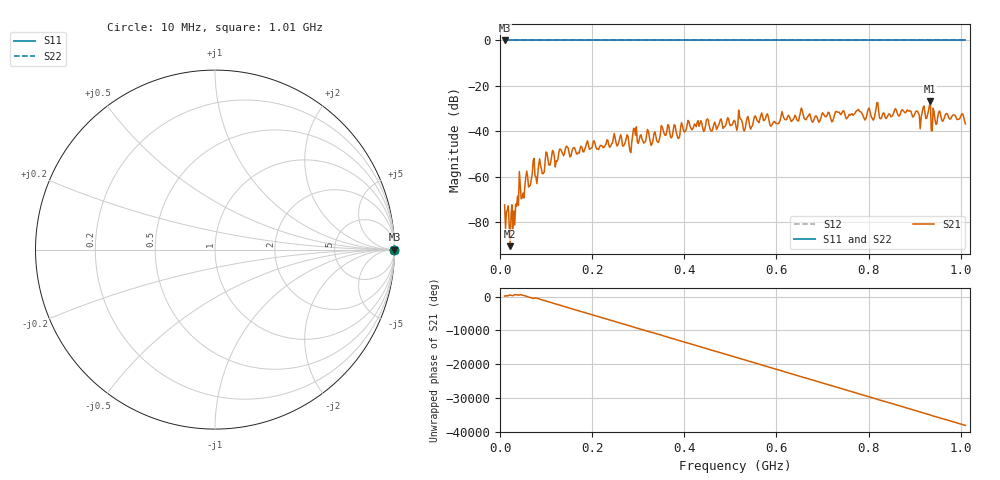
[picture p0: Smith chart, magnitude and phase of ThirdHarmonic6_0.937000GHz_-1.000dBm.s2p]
! 8/16/2025 6:30:56 AM
! C:\ANRITSUVNA\TEMP\TEMP.S2P
! CHANNEL.1
! TR.MEASUREMENT
! RAW.DATA
! RF.CORRECTION.OFF
! AVERAGING.OFF
! IF.BANDWIDTH: 5KHZ
! SWEEPTYPE:  FREQ.SWEEP(Linear)
! Reference Plane Port Info
! PORT:  PORT1  PORT2
! DISTANCE:  0  m  0  m
! TIME:  0  s  0  s
! PHASE.OFFSET:  0  deg.  0  deg.
! LOSS:  0  dB  0  dB
! REF.LOSS:  0  dB  0  dB
! REF.FREQ:  0  Hz  0  Hz
! Power Info
! POWER:  -20  dBm  -20  dBm
! EFF.POWER:  -20  dBm  -20  dBm
! SOURCE.ATTEN:  0  dB  0  dB
! TEST.ATTEN:  0  dB  0  dB
# GHZ S RI R 50.0
! FREQ.GHZ  S11RE  S11IM  S21RE  S21IM  S12RE  S12IM  S22RE  S22IM
!; PortSelection: Port_12
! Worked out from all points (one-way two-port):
!   501 points, 10 MHz to 1.01 GHz, reference 50 ohm
!   highest |S21| = -26.84 dB at 934 MHz (marker M1); lowest = -90.5 dB at 22 MHz (marker M2)
!   lowest |S11| = 0.0 dB at 10 MHz (marker M3)
!   |S11| at or under -10 dB: nowhere
!   |S22| runs from 0.0 to 0.0 dB; largest |S21 - S12| = 1
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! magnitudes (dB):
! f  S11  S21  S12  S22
! 10 MHz  0.0  -72.3  0.0  0.0
! 22 MHz  0.0  -90.5  0.0  0.0
! 32 MHz  0.0  -81.1  0.0  0.0
! 40 MHz  0.0  -72.5  0.0  0.0
! 50 MHz  0.0  -67.1  0.0  0.0
! 72 MHz  0.0  -52.8  0.0  0.0
! 178 MHz  0.0  -47.1  0.0  0.0
! 282 MHz  0.0  -48.7  0.0  0.0
! 292 MHz  0.0  -38.9  0.0  0.0
! 344 MHz  0.0  -44.8  0.0  0.0
! 352 MHz  0.0  -38.0  0.0  0.0
! 386 MHz  0.0  -43.0  0.0  0.0
! 410 MHz  0.0  -35.7  0.0  0.0
! 510 MHz  0.0  -35.6  0.0  0.0
! 654 MHz  0.0  -29.7  0.0  0.0
! 678 MHz  0.0  -36.0  0.0  0.0
! 776 MHz  0.0  -30.7  0.0  0.0
! 810 MHz  0.0  -35.1  0.0  0.0
! 818 MHz  0.0  -27.3  0.0  0.0
! 844 MHz  0.0  -32.3  0.0  0.0
! 934 MHz  0.0  -26.8  0.0  0.0
! 1.01 GHz  0.0  -36.7  0.0  0.0
